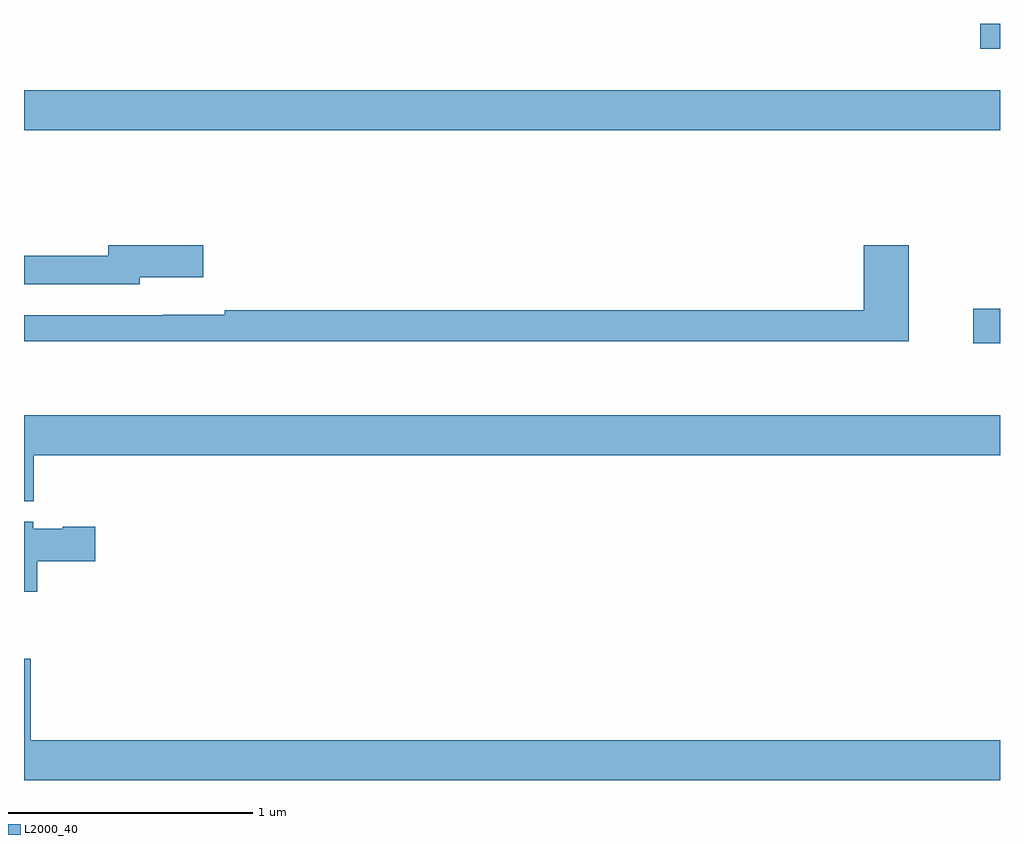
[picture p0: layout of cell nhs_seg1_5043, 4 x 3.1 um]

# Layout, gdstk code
import gdstk
lib = gdstk.Library(unit=1e-6, precision=1e-09)
def R(c, l, rs):  # rectangles x0, y0, x1, y1
    for r in rs: c.add(gdstk.rectangle(r[:2], r[2:], *l))
def P(c, l, *ps):  # polygons
    for p in ps: c.add(gdstk.Polygon(p, *l))
L2000_40 = (2000, 40)

nhs_seg1_5043 = lib.new_cell('nhs_seg1_5043')
R(nhs_seg1_5043, L2000_40, [(388.89,518.89,389,519.032), (385,519.764,389,519.928), (388.919,520.097,389,520.199)])
P(nhs_seg1_5043, L2000_40, [(388.625,519.292),(388.442,519.292),(388.442,519.026),(385.822,519.026),(385.822,519.007),(385.57,519.007),(385.57,519.006),(385,519.006),(385,518.898),(388.625,518.898)],
  [(385.474,519.161),(385.735,519.161),(385.735,519.291),(385.346,519.291),(385.346,519.248),(385,519.248),(385,519.132),(385.474,519.132)],
  [(385.04,518.432),(389,518.432),(389,518.596),(385,518.596),(385,518.243),(385.04,518.243)],
  [(385.055,517.996),(385.291,517.996),(385.291,518.139),(385.158,518.139),(385.158,518.131),(385.038,518.131),(385.038,518.158),(385,518.158),(385,517.871),(385.055,517.871)],
  [(389,517.264),(385.028,517.264),(385.028,517.597),(385,517.597),(385,517.1),(389,517.1)])

lib.write_gds('nhs_seg1_5043.gds')
